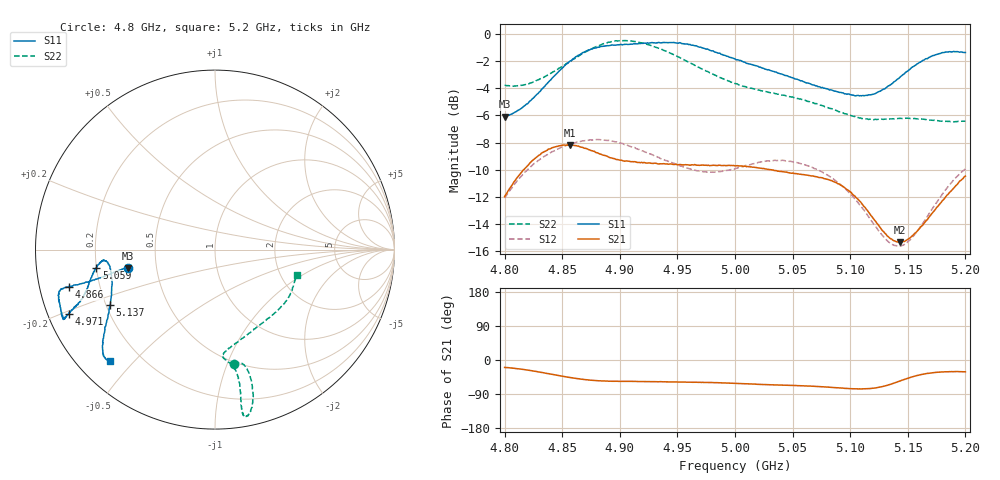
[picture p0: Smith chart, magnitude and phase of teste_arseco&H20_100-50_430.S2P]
! Network Analyzer HP8722D
! Hewlett-Packard
! Data name: Linha & Wilkinson
! Saver's name: Rodrigo Anjos
! Comments: Teste da utilização de aquisição
! continua pelo VNA HP8722D
! Time and date: 6/5/2025 16:09
!  Frequency  S11  S21  S12  S22
# HZ  S  MA R 50
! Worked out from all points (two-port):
!   401 points, 4.8 GHz to 5.2 GHz, reference 50 ohm
!   highest |S21| = -8.17 dB at 4.857 GHz (marker M1); lowest = -15.3 dB at 5.143 GHz (marker M2)
!   |S21| within 3 dB of the highest: 4.806 GHz to 5.093 GHz (286.6 MHz wide, 5.79 % of centre); 5.191662 GHz to end of sweep
!   lowest |S11| = -6.1 dB at 4.8 GHz (marker M3), VSWR 2.97, Z = 17 - j4.65 ohm
!   |S11| at or under -10 dB: nowhere
!   |S22| runs from -6.5 to -0.5 dB; largest |S21 - S12| = 0.62
!   S11 on the Smith chart (normalised r, x): 4.8 GHz: 0.34, -0.09; 4.866 GHz: 0.09, -0.12; 4.971 GHz: 0.06, -0.21; 5.059 GHz: 0.20, -0.07; 5.137 GHz: 0.22, -0.24; 5.2 GHz: 0.09, -0.43
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4.8e9  0.4962 -168.0  0.252 -19.7  0.2492 -140.8  0.6486 -80.4
4.83e9  0.6109 -166.8  0.3584 -31.7  0.3436 -145.1  0.6802 -75.2
4.857e9  0.7955 -165.7  0.3905 -46.3  0.393 -150.2  0.7929 -74.7
4.866e9  0.8421 -165.7  0.3836 -50.2  0.4024 -151.8  0.8383 -75.3
4.867e9  0.8489 -165.7  0.3831 -50.8  0.4032 -151.9  0.8441 -75.4
4.883e9  0.8977 -165.0  0.3615 -54.9  0.4085 -154.6  0.9091 -77.1
4.899e9  0.9126 -162.8  0.3443 -56.3  0.3986 -156.6  0.9425 -79.1
4.934e9  0.931 -156.4  0.3325 -57.5  0.3515 -155.5  0.8838 -80.5
4.949e9  0.9255 -155.2  0.3315 -57.8  0.3321 -152.9  0.8306 -80.1
4.971e9  0.8905 -156.4  0.3291 -59.2  0.3123 -146.4  0.7444 -79.7
5e9  0.8099 -158.8  0.327 -61.7  0.3198 -137.1  0.6569 -81.2
5.036e9  0.7226 -165.5  0.3141 -65.8  0.3421 -134.4  0.6024 -85.7
5.059e9  0.6688 -171.4  0.3039 -68.2  0.3318 -136.0  0.5721 -84.4
5.067e9  0.65 -172.8  0.3006 -69.1  0.323 -136.6  0.5585 -82.7
5.083e9  0.6229 -174.4  0.2892 -72.2  0.2976 -138.2  0.5313 -76.7
5.103e9  0.5947 -171.3  0.2551 -76.0  0.2503 -138.6  0.4975 -65.2
5.134e9  0.6462 -154.0  0.1781 -65.1  0.1709 -120.6  0.4867 -43.3
5.137e9  0.6597 -152.2  0.1743 -62.0  0.1678 -116.7  0.4876 -41.4
5.143e9  0.6917 -149.0  0.1714 -55.7  0.1661 -108.9  0.4889 -37.9
5.154e9  0.7554 -144.3  0.1812 -44.4  0.1792 -94.9  0.4882 -32.4
5.172e9  0.833 -138.9  0.2213 -33.5  0.2302 -81.0  0.4809 -24.5
5.2e9  0.8543 -133.5  0.3 -31.2  0.3195 -76.8  0.4774 -17.5
